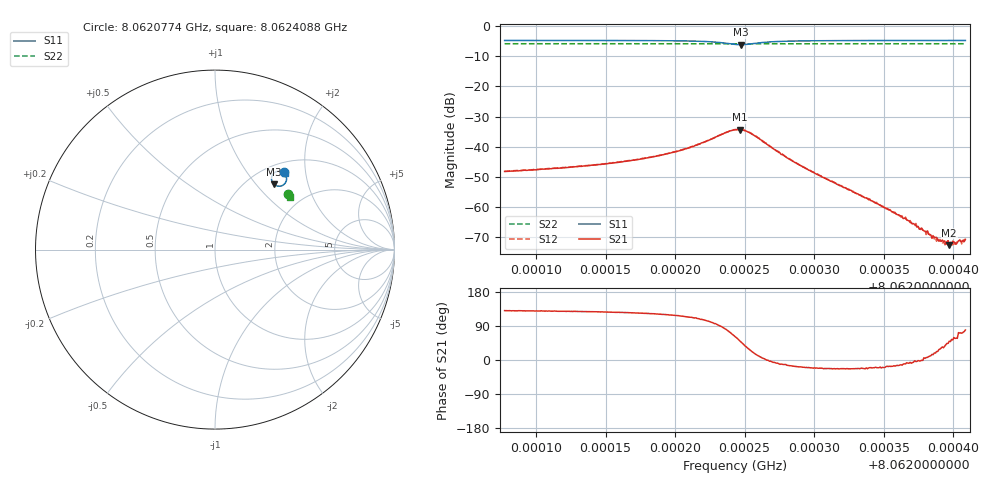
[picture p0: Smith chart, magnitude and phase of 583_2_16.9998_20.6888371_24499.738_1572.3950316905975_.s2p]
#  HZ  S  RI  R  50.00
! Rohde & Schwarz Vector Network Analyzer
! Rohde-Schwarz,ZNB20-2Port,1311601062101988,3.16
! Created: UTC 3/20/2024, 11:18:12 PM
! freq[Hz]  re:S11  im:S11  re:S21  im:S21  re:S12  im:S12  re:S22  im:S22
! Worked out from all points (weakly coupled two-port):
!   401 points, 8.0620774 GHz to 8.0624088 GHz, reference 50 ohm
!   highest |S21| = -34.29 dB at 8.0622464 GHz (marker M1); lowest = -72.5 dB at 8.0623972 GHz (marker M2)
!   lowest |S11| = -6.2 dB at 8.0622473 GHz (marker M3), VSWR 2.92, Z = 65.2 + j62.4 ohm
!   |S11| at or under -10 dB: nowhere
!   |S22| runs from -5.9 to -5.9 dB; largest |S21 - S12| = 0.0012
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8.06207744e9  0.3823 0.4308  -0.00253 0.00297  -0.00236 0.00317  0.4055 0.3072
8.06213294e9  0.3879 0.4248  -0.00291 0.00375  -0.00274 0.00398  0.4075 0.3042
8.06216028e9  0.3912 0.4202  -0.00324 0.00452  -0.003 0.00475  0.4087 0.3027
8.06218844e9  0.3955 0.4122  -0.00367 0.00613  -0.00333 0.00638  0.4096 0.3009
8.06221164e9  0.3991 0.3973  -0.00386 0.00925  -0.00325 0.00944  0.4103 0.2991
8.06223069e9  0.3897 0.3687  -0.000751 0.015  0.000128 0.0152  0.4102 0.2971
8.06224312e9  0.3478 0.3541  0.00896 0.0169  0.00999 0.0165  0.4085 0.2964
8.06224643e9  0.3324 0.3608  0.0122 0.015  0.0131 0.0144  0.4081 0.2968
8.06224726e9  0.3291 0.3636  0.0128 0.0142  0.0139 0.0136  0.4081 0.297
8.06225554e9  0.3149 0.3994  0.0151 0.00589  0.0154 0.00509  0.408 0.2983
8.06226631e9  0.3308 0.4283  0.0109 -9.23e-05  0.0111 -0.000758  0.4096 0.2988
8.06228122e9  0.3517 0.4369  0.00622 -0.0016  0.00617 -0.00198  0.4111 0.2983
8.06229862e9  0.3647 0.4367  0.00359 -0.00137  0.00353 -0.0016  0.4123 0.2972
8.06235412e9  0.3807 0.4306  0.000871 -0.000257  0.000836 -0.000302  0.4148 0.2939
8.06236654e9  0.3826 0.4295  0.000614 -7.84e-05  0.000614 -0.000107  0.4151 0.2933
8.0623798e9  0.3842 0.4283  0.0004 2.96e-05  0.000407 2.05e-05  0.4156 0.2926
8.06238394e9  0.3848 0.428  0.00034 6.77e-05  0.00032 6.44e-05  0.4157 0.2925
8.06239305e9  0.3857 0.4272  0.000227 0.000144  0.000225 0.000143  0.4161 0.2919
8.06239554e9  0.3861 0.4271  0.000193 0.000185  0.000194 0.000177  0.4161 0.2917
8.06239719e9  0.3863 0.427  0.000153 0.00018  0.00016 0.000166  0.4163 0.2916
8.06240134e9  0.3867 0.4266  0.00014 0.000215  0.000129 0.000205  0.4164 0.2914
8.06240879e9  0.3874 0.4261  5.5e-05 0.000288  8.08e-05 0.00028  0.4166 0.291
